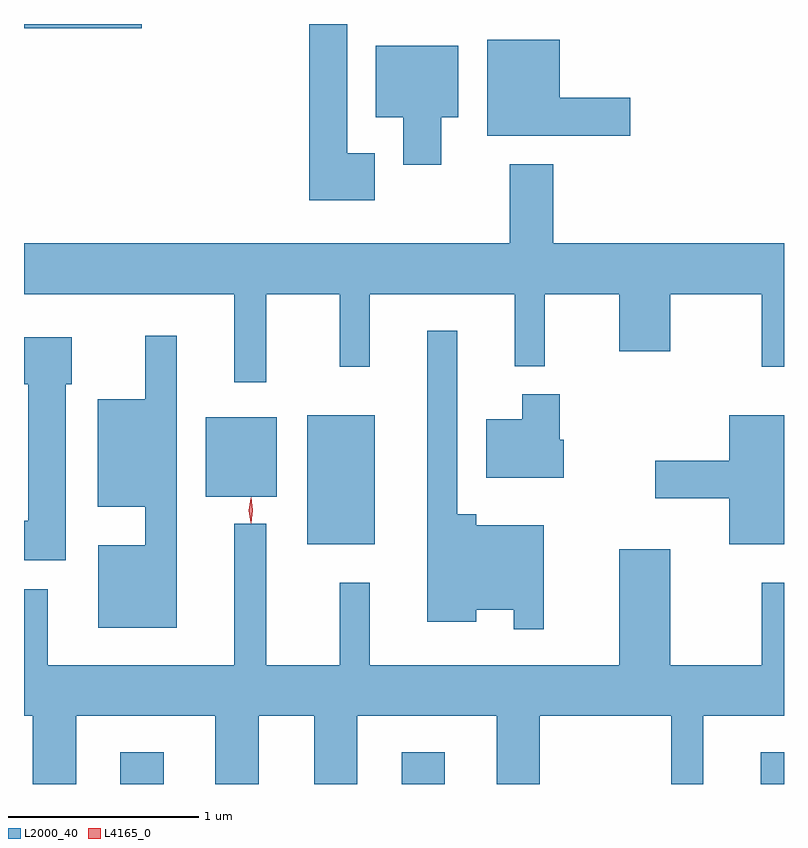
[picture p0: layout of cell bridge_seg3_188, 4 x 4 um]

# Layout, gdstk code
import gdstk
lib = gdstk.Library(unit=1e-6, precision=1e-09)
def R(c, l, rs):  # rectangles x0, y0, x1, y1
    for r in rs: c.add(gdstk.rectangle(r[:2], r[2:], *l))
def P(c, l, *ps):  # polygons
    for p in ps: c.add(gdstk.Polygon(p, *l))
L2000_40 = (2000, 40)
L4165_0 = (4165, 0)

bridge_seg3_188 = lib.new_cell('bridge_seg3_188')
R(bridge_seg3_188, L2000_40, [(871.791,1141.198,872.019,1141.364), (873.271,1141.198,873.499,1141.364), (875.161,1141.198,875.284,1141.364), (872.776,1142.461,873.129,1143.139), (872.241,1142.711,872.614,1143.129), (871.284,1145.176,871.904,1145.198)])
P(bridge_seg3_188, L2000_40, [(873.129,1144.519),(872.984,1144.519),(872.984,1145.198),(872.786,1145.198),(872.786,1144.271),(873.129,1144.271)],
  [(874.474,1144.809),(874.104,1144.809),(874.104,1145.114),(873.721,1145.114),(873.721,1144.611),(874.474,1144.611)],
  [(873.479,1144.706),(873.569,1144.706),(873.569,1145.084),(873.136,1145.084),(873.136,1144.706),(873.281,1144.706),(873.281,1144.456),(873.479,1144.456)],
  [(874.069,1144.459),(873.841,1144.459),(873.841,1144.044),(871.284,1144.044),(871.284,1143.776),(872.391,1143.776),(872.391,1143.313),(872.559,1143.313),(872.559,1143.776),(872.946,1143.776),(872.946,1143.393),(873.104,1143.393),(873.104,1143.776),(873.866,1143.776),(873.866,1143.398),(874.024,1143.398),(874.024,1143.776),(874.416,1143.776),(874.416,1143.476),(874.684,1143.476),(874.684,1143.776),(875.166,1143.776),(875.166,1143.393),(875.284,1143.393),(875.284,1144.044),(874.069,1144.044)],
  [(874.019,1142.559),(873.664,1142.559),(873.664,1142.619),(873.564,1142.619),(873.564,1143.583),(873.406,1143.583),(873.406,1142.051),(873.664,1142.051),(873.664,1142.116),(873.861,1142.116),(873.861,1142.013),(874.019,1142.013)],
  [(872.089,1143.558),(871.921,1143.558),(871.921,1143.224),(871.671,1143.224),(871.671,1142.656),(871.921,1142.656),(871.921,1142.454),(871.676,1142.454),(871.676,1142.021),(872.089,1142.021)],
  [(871.504,1143.301),(871.534,1143.301),(871.534,1143.549),(871.284,1143.549),(871.284,1143.301),(871.306,1143.301),(871.306,1142.584),(871.284,1142.584),(871.284,1142.376),(871.504,1142.376)],
  [(874.124,1143.009),(874.104,1143.009),(874.104,1143.249),(873.906,1143.249),(873.906,1143.119),(873.716,1143.119),(873.716,1142.811),(874.124,1142.811)],
  [(875.284,1143.139),(874.996,1143.139),(874.996,1142.899),(874.606,1142.899),(874.606,1142.701),(874.996,1142.701),(874.996,1142.461),(875.284,1142.461)],
  [(871.559,1141.556),(872.291,1141.556),(872.291,1141.198),(872.519,1141.198),(872.519,1141.556),(872.811,1141.556),(872.811,1141.198),(873.039,1141.198),(873.039,1141.556),(873.771,1141.556),(873.771,1141.198),(873.999,1141.198),(873.999,1141.556),(874.691,1141.556),(874.691,1141.198),(874.859,1141.198),(874.859,1141.556),(875.284,1141.556),(875.284,1142.258),(875.166,1142.258),(875.166,1141.824),(874.684,1141.824),(874.684,1142.434),(874.416,1142.434),(874.416,1141.824),(873.104,1141.824),(873.104,1142.258),(872.946,1142.258),(872.946,1141.824),(872.559,1141.824),(872.559,1142.568),(872.391,1142.568),(872.391,1141.824),(871.409,1141.824),(871.409,1142.224),(871.284,1142.224),(871.284,1141.556),(871.331,1141.556),(871.331,1141.198),(871.559,1141.198)])
P(bridge_seg3_188, L4165_0, [(872.479,1142.569),(872.479,1142.57),(872.47,1142.638),(872.479,1142.706),(872.48,1142.706),(872.48,1142.706),(872.489,1142.638),(872.48,1142.57)],
  [(872.477,1142.572),(872.477,1142.573),(872.467,1142.637),(872.477,1142.702),(872.477,1142.702),(872.478,1142.702),(872.487,1142.637),(872.478,1142.573)])

lib.write_gds('bridge_seg3_188.gds')
